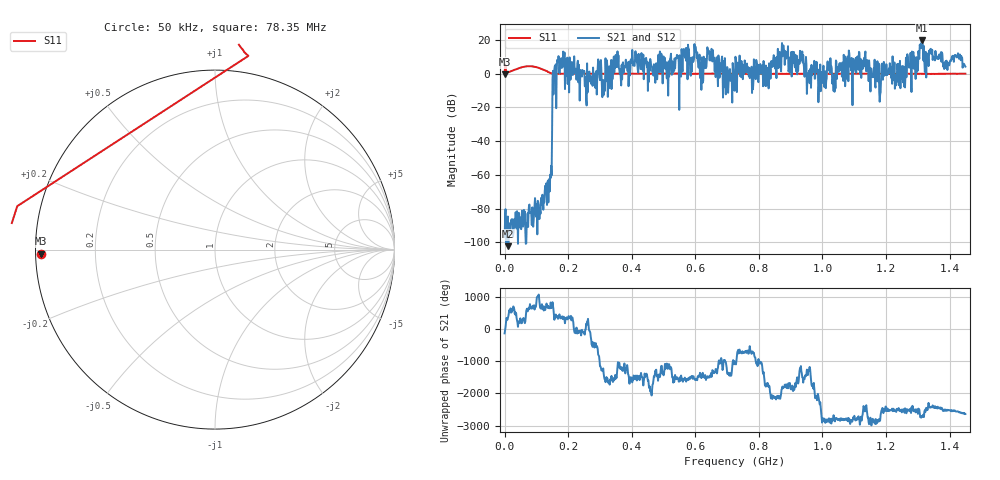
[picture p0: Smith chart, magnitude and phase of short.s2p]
! Created with skrf 1.11.0 (http://scikit-rf.org).
# Hz S RI R 50.0
!freq ReS11 ImS11 ReS21 ImS21 ReS12 ImS12 ReS22 ImS22
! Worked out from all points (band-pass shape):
!   1001 points, 50 kHz to 1.45 GHz, reference 50 ohm
!   highest |S21| = 19.81 dB at 1.312 GHz (marker M1); lowest = -102.4 dB at 11.65 MHz (marker M2)
!   |S21| within 3 dB of the highest: 577.096 MHz to 577.3483 MHz (252.3 kHz wide, 0.0437 % of centre); 1.311317 GHz to 1.315991 GHz (4.674 MHz wide, 0.356 % of centre) (the widest 2 of 7)
!   lowest |S11| = -0.2 dB at 50 kHz (marker M3), VSWR 71.40, Z = 0.7 - j0.601 ohm
!   |S11| at or under -10 dB: nowhere
!   |S22| runs from - to - dB; largest |S21 - S12| = 0
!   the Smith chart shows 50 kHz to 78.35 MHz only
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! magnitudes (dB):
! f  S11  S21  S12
! 50 kHz  -0.2  -96.9  -96.9
! 11.65 MHz  0.9  -102.4  -102.4
! 117.5 MHz  2.8  -77.7  -77.7
! 140.7 MHz  0.7  -64.1  -64.1
! 156.6 MHz  0.0  2.9  2.9
! 163.9 MHz  0.0  1.0  1.0
! 242.2 MHz  0.1  -0.2  -0.2
! 313.2 MHz  0.0  -5.0  -5.0
! 484.3 MHz  0.1  11.4  11.4
! 598.9 MHz  0.0  13.3  13.3
! 622.1 MHz  0.1  2.2  2.2
! 645.3 MHz  0.1  8.0  8.0
! 669.9 MHz  0.1  0.4  0.4
! 725 MHz  0.1  -2.8  -2.8
! 826.5 MHz  0.0  3.6  3.6
! 880.2 MHz  0.0  13.6  13.6
! 967.2 MHz  0.0  -0.9  -0.9
! 1.209 GHz  0.0  3.2  3.2
! 1.253 GHz  0.0  4.6  4.6
! 1.312 GHz  0.0  19.8  19.8
! 1.328 GHz  0.0  11.4  11.4
! 1.45 GHz  0.1  4.3  4.3
